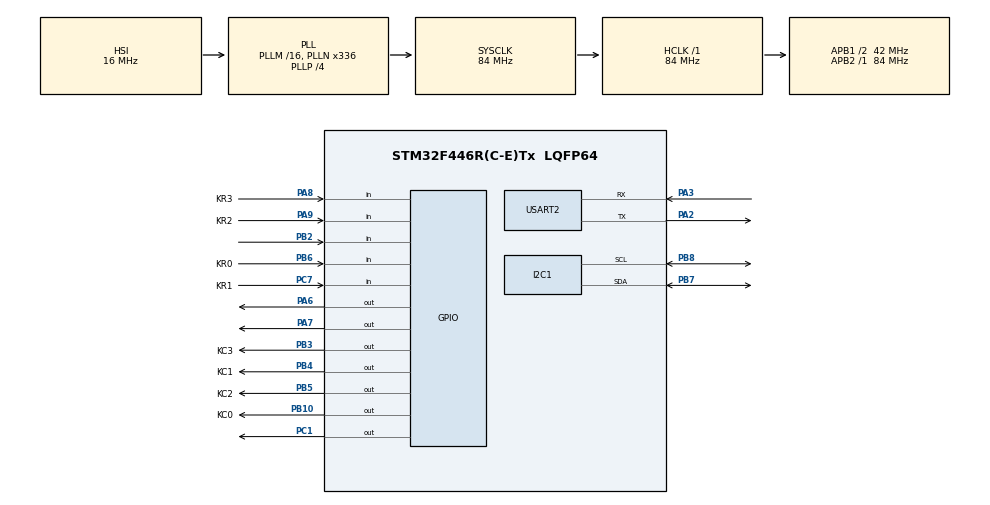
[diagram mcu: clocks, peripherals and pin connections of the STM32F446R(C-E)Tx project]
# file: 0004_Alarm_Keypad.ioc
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FREERTOS.Tasks01=ReadInputTask,24,128,StartDefaultTask,Default,NULL,Dynamic,NULL,NULL;WriteInputTask,24,128,StartTask02,Default,NULL,Dynamic,NULL,NULL;RedLight,24,128,StartRedTask,Default,NULL,Dynamic,NULL,NULL;GreenLight,24,128,StartGreenTask,Default,NULL,Dynamic,NULL,NULL;ReadSensorTask,24,128,readsensor,Default,NULL,Dynamic,NULL,NULL
FREERTOS.configUSE_NEWLIB_REENTRANT=1
I2C1.I2C_Mode=I2C_Fast
Mcu.Family=STM32F4
Mcu.Name=STM32F446R(C-E)Tx
Mcu.Package=LQFP64
NVIC.PriorityGroup=NVIC_PRIORITYGROUP_4
NVIC.TIM6_DAC_IRQn=true\:15\:0\:false\:false\:true\:false\:false\:true\:true
NVIC.TimeBase=TIM6_DAC_IRQn
NVIC.TimeBaseIP=TIM6
PA13.Mode=Serial_Wire
PA13.Signal=SYS_JTMS-SWDIO
PA14.Mode=Serial_Wire
PA14.Signal=SYS_JTCK-SWCLK
PA2.Mode=Asynchronous
PA2.Signal=USART2_TX
PA3.Mode=Asynchronous
PA3.Signal=USART2_RX
PA6.Signal=GPIO_Output
PA7.Signal=GPIO_Output
PA8.GPIO_Label=KR3
PA8.GPIO_PuPd=GPIO_PULLDOWN
PA8.Signal=GPIO_Input
PA9.GPIO_Label=KR2
PA9.GPIO_PuPd=GPIO_PULLDOWN
PA9.Signal=GPIO_Input
PB10.GPIO_Label=KC0
PB10.Signal=GPIO_Output
PB2.Signal=GPIO_Input
PB3.GPIO_Label=KC3
PB3.Signal=GPIO_Output
PB4.GPIO_Label=KC1
PB4.Signal=GPIO_Output
PB5.GPIO_Label=KC2
PB5.Signal=GPIO_Output
PB6.GPIO_Label=KR0
PB6.GPIO_PuPd=GPIO_PULLDOWN
PB6.Signal=GPIO_Input
PB7.Mode=I2C
PB7.Signal=I2C1_SDA
PB8.Mode=I2C
PB8.Signal=I2C1_SCL
PC1.Signal=GPIO_Output
PC14-OSC32_IN.Mode=LSE-External-Oscillator
PC14-OSC32_IN.Signal=RCC_OSC32_IN
PC15-OSC32_OUT.Mode=LSE-External-Oscillator
PC15-OSC32_OUT.Signal=RCC_OSC32_OUT
PC7.GPIO_Label=KR1
PC7.GPIO_PuPd=GPIO_PULLDOWN
PC7.Signal=GPIO_Input
PH0-OSC_IN.Mode=HSE-External-Oscillator
PH0-OSC_IN.Signal=RCC_OSC_IN
PH1-OSC_OUT.Mode=HSE-External-Oscillator
PH1-OSC_OUT.Signal=RCC_OSC_OUT
ProjectManager.HeapSize=0x200
ProjectManager.StackSize=0x400
ProjectManager.TargetToolchain=STM32CubeIDE
RCC.48MHZClocksFreq_Value=84000000
RCC.AHBFreq_Value=84000000
RCC.APB1CLKDivider=RCC_HCLK_DIV2
RCC.APB1Freq_Value=42000000
RCC.APB1TimFreq_Value=84000000
RCC.APB2Freq_Value=84000000
RCC.APB2TimFreq_Value=84000000
RCC.CortexFreq_Value=84000000
RCC.FLatency-AdvancedSettings=FLASH_LATENCY_2
RCC.HCLKFreq_Value=84000000
RCC.HSE_VALUE=8000000
RCC.HSI_VALUE=16000000
RCC.PLLN=336
RCC.PLLP=RCC_PLLP_DIV4
RCC.SYSCLKFreq_VALUE=84000000
RCC.SYSCLKSource=RCC_SYSCLKSOURCE_PLLCLK
RCC.USBFreq_Value=168000000
RCC.VCOOutputFreq_Value=336000000
USART2.VirtualMode=VM_ASYNC
VP_FREERTOS_VS_CMSIS_V2.Mode=CMSIS_V2
VP_SYS_VS_tim6.Mode=TIM6
board=NUCLEO-F446RE

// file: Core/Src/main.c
/* USER CODE BEGIN Header */
/**
  ******************************************************************************
  * @file           : main.c
  * @brief          : Main program body
  ******************************************************************************
  * @attention
  *
  * Copyright (c) 2024 STMicroelectronics.
  * All rights reserved.
  *
  * This software is licensed under terms that can be found in the LICENSE file
  * in the root directory of this software component.
  * If no LICENSE file comes with this software, it is provided AS-IS.
  *
  ******************************************************************************
  */
/* USER CODE END Header */
#include "main.h"
#include "cmsis_os.h"

/* USER CODE BEGIN Includes */
#include "Keypad4X4.h"
#include <stdio.h>
#include <string.h>
#include <stdlib.h>
#include "fonts.h"
#include "ssd1306.h"

/* USER CODE END Includes */

I2C_HandleTypeDef hi2c1;

UART_HandleTypeDef huart2;

/* Definitions for ReadInputTask */
osThreadId_t ReadInputTaskHandle;
const osThreadAttr_t ReadInputTask_attributes = {
  .name = "ReadInputTask",
  .stack_size = 128 * 4,
  .priority = (osPriority_t) osPriorityNormal,
};
/* Definitions for WriteInputTask */
osThreadId_t WriteInputTaskHandle;
const osThreadAttr_t WriteInputTask_attributes = {
  .name = "WriteInputTask",
  .stack_size = 128 * 4,
  .priority = (osPriority_t) osPriorityNormal,
};
/* Definitions for RedLight */
osThreadId_t RedLightHandle;
const osThreadAttr_t RedLight_attributes = {
  .name = "RedLight",
  .stack_size = 128 * 4,
  .priority = (osPriority_t) osPriorityNormal,
};
/* Definitions for GreenLight */
osThreadId_t GreenLightHandle;
const osThreadAttr_t GreenLight_attributes = {
  .name = "GreenLight",
  .stack_size = 128 * 4,
  .priority = (osPriority_t) osPriorityNormal,
};
/* Definitions for ReadSensorTask */
osThreadId_t ReadSensorTaskHandle;
const osThreadAttr_t ReadSensorTask_attributes = {
  .name = "ReadSensorTask",
  .stack_size = 128 * 4,
  .priority = (osPriority_t) osPriorityNormal,
};
/* USER CODE BEGIN PV */
extern char key;
char hold[5];
char ast[5];
size_t currentIndex = 0;
int flag = 0;
extern GPIO_PinState motionStatus;
/* USER CODE END PV */

void SystemClock_Config(void);
static void MX_GPIO_Init(void);
static void MX_I2C1_Init(void);
static void MX_USART2_UART_Init(void);
void StartDefaultTask(void *argument);
void StartTask02(void *argument);
void StartRedTask(void *argument);
void StartGreenTask(void *argument);
void readsensor(void *argument);

int main(void)
{

  /* MCU Configuration--------------------------------------------------------*/

  /* Reset of all peripherals, Initializes the Flash interface and the Systick. */
  HAL_Init();

  /* Configure the system clock */
  SystemClock_Config();

  /* Initialize all configured peripherals */
  MX_GPIO_Init();
  MX_I2C1_Init();
  MX_USART2_UART_Init();
  /* USER CODE BEGIN 2 */
  /* USER CODE BEGIN 2 */
    SSD1306_Init();
    SSD1306_GotoXY (0,0);
    //SSD1306_Puts ("Voltage:", &Font_11x18, 1);
    SSD1306_Puts ("Enter Code:", &Font_11x18, 1);
    SSD1306_GotoXY (0, 30);
    SSD1306_UpdateScreen();
    SSD1306_UpdateScreen();
    HAL_Delay (500);

  /* USER CODE END 2 */

  /* Init scheduler */
  osKernelInitialize();

  /* Create the thread(s) */
  /* creation of ReadInputTask */
  ReadInputTaskHandle = osThreadNew(StartDefaultTask, NULL, &ReadInputTask_attributes);

  /* creation of WriteInputTask */
  WriteInputTaskHandle = osThreadNew(StartTask02, NULL, &WriteInputTask_attributes);

  /* creation of RedLight */
  RedLightHandle = osThreadNew(StartRedTask, NULL, &RedLight_attributes);

  /* creation of GreenLight */
  GreenLightHandle = osThreadNew(StartGreenTask, NULL, &GreenLight_attributes);

  /* creation of ReadSensorTask */
  ReadSensorTaskHandle = osThreadNew(readsensor, NULL, &ReadSensorTask_attributes);

  /* Start scheduler */
  osKernelStart();

  /* We should never get here as control is now taken by the scheduler */

  /* Infinite loop */
  /* USER CODE BEGIN WHILE */
//  while (1)
//  {
    /* USER CODE END WHILE */

    /* USER CODE BEGIN 3 */
//	/* D10 to D7 as input pins for row 0 to row 3. D6 to D3 as output for column pins C1 to C3*/
//	  sprintf(hold, "%c", key);
//	  HAL_UART_Transmit(&huart2, (uint8_t *)hold, strlen(hold), 100);
//	  SSD1306_GotoXY (0, 30);
//	  SSD1306_UpdateScreen();
//	  SSD1306_Puts (hold, &Font_11x18, 1);
//	  SSD1306_UpdateScreen();
//	  HAL_Delay (500);
//  }
  /* USER CODE END 3 */
}

void SystemClock_Config(void)
{
  RCC_OscInitTypeDef RCC_OscInitStruct = {0};
  RCC_ClkInitTypeDef RCC_ClkInitStruct = {0};

  /** Configure the main internal regulator output voltage
  */
  __HAL_RCC_PWR_CLK_ENABLE();
  __HAL_PWR_VOLTAGESCALING_CONFIG(PWR_REGULATOR_VOLTAGE_SCALE3);

  /** Initializes the RCC Oscillators according to the specified parameters
  * in the RCC_OscInitTypeDef structure.
  */
  RCC_OscInitStruct.OscillatorType = RCC_OSCILLATORTYPE_HSI;
  RCC_OscInitStruct.HSIState = RCC_HSI_ON;
  RCC_OscInitStruct.HSICalibrationValue = RCC_HSICALIBRATION_DEFAULT;
  RCC_OscInitStruct.PLL.PLLState = RCC_PLL_ON;
  RCC_OscInitStruct.PLL.PLLSource = RCC_PLLSOURCE_HSI;
  RCC_OscInitStruct.PLL.PLLM = 16;
  RCC_OscInitStruct.PLL.PLLN = 336;
  RCC_OscInitStruct.PLL.PLLP = RCC_PLLP_DIV4;
  RCC_OscInitStruct.PLL.PLLQ = 2;
  RCC_OscInitStruct.PLL.PLLR = 2;
  if (HAL_RCC_OscConfig(&RCC_OscInitStruct) != HAL_OK)
  {
    Error_Handler();
  }

  /** Initializes the CPU, AHB and APB buses clocks
  */
  RCC_ClkInitStruct.ClockType = RCC_CLOCKTYPE_HCLK|RCC_CLOCKTYPE_SYSCLK
                              |RCC_CLOCKTYPE_PCLK1|RCC_CLOCKTYPE_PCLK2;
  RCC_ClkInitStruct.SYSCLKSource = RCC_SYSCLKSOURCE_PLLCLK;
  RCC_ClkInitStruct.AHBCLKDivider = RCC_SYSCLK_DIV1;
  RCC_ClkInitStruct.APB1CLKDivider = RCC_HCLK_DIV2;
  RCC_ClkInitStruct.APB2CLKDivider = RCC_HCLK_DIV1;

  if (HAL_RCC_ClockConfig(&RCC_ClkInitStruct, FLASH_LATENCY_2) != HAL_OK)
  {
    Error_Handler();
  }
}

static void MX_I2C1_Init(void)
{

  hi2c1.Instance = I2C1;
  hi2c1.Init.ClockSpeed = 400000;
  hi2c1.Init.DutyCycle = I2C_DUTYCYCLE_2;
  hi2c1.Init.OwnAddress1 = 0;
  hi2c1.Init.AddressingMode = I2C_ADDRESSINGMODE_7BIT;
  hi2c1.Init.DualAddressMode = I2C_DUALADDRESS_DISABLE;
  hi2c1.Init.OwnAddress2 = 0;
  hi2c1.Init.GeneralCallMode = I2C_GENERALCALL_DISABLE;
  hi2c1.Init.NoStretchMode = I2C_NOSTRETCH_DISABLE;
  if (HAL_I2C_Init(&hi2c1) != HAL_OK)
  {
    Error_Handler();
  }

}

static void MX_USART2_UART_Init(void)
{

  huart2.Instance = USART2;
  huart2.Init.BaudRate = 115200;
  huart2.Init.WordLength = UART_WORDLENGTH_8B;
  huart2.Init.StopBits = UART_STOPBITS_1;
  huart2.Init.Parity = UART_PARITY_NONE;
  huart2.Init.Mode = UART_MODE_TX_RX;
  huart2.Init.HwFlowCtl = UART_HWCONTROL_NONE;
  huart2.Init.OverSampling = UART_OVERSAMPLING_16;
  if (HAL_UART_Init(&huart2) != HAL_OK)
  {
    Error_Handler();
  }

}

static void MX_GPIO_Init(void)
{
  GPIO_InitTypeDef GPIO_InitStruct = {0};

  /* GPIO Ports Clock Enable */
  __HAL_RCC_GPIOC_CLK_ENABLE();
  __HAL_RCC_GPIOH_CLK_ENABLE();
  __HAL_RCC_GPIOA_CLK_ENABLE();
  __HAL_RCC_GPIOB_CLK_ENABLE();

  /*Configure GPIO pin Output Level */
  HAL_GPIO_WritePin(GPIOC, GPIO_PIN_1, GPIO_PIN_RESET);

  /*Configure GPIO pin Output Level */
  HAL_GPIO_WritePin(GPIOA, GPIO_PIN_6|GPIO_PIN_7, GPIO_PIN_RESET);

  /*Configure GPIO pin Output Level */
  HAL_GPIO_WritePin(GPIOB, KC0_Pin|KC3_Pin|KC1_Pin|KC2_Pin, GPIO_PIN_RESET);

  /*Configure GPIO pin : PC1 */
  GPIO_InitStruct.Pin = GPIO_PIN_1;
  GPIO_InitStruct.Mode = GPIO_MODE_OUTPUT_PP;
  GPIO_InitStruct.Pull = GPIO_NOPULL;
  GPIO_InitStruct.Speed = GPIO_SPEED_FREQ_LOW;
  HAL_GPIO_Init(GPIOC, &GPIO_InitStruct);

  /*Configure GPIO pins : PA6 PA7 */
  GPIO_InitStruct.Pin = GPIO_PIN_6|GPIO_PIN_7;
  GPIO_InitStruct.Mode = GPIO_MODE_OUTPUT_PP;
  GPIO_InitStruct.Pull = GPIO_NOPULL;
  GPIO_InitStruct.Speed = GPIO_SPEED_FREQ_LOW;
  HAL_GPIO_Init(GPIOA, &GPIO_InitStruct);

  /*Configure GPIO pin : PB2 */
  GPIO_InitStruct.Pin = GPIO_PIN_2;
  GPIO_InitStruct.Mode = GPIO_MODE_INPUT;
  GPIO_InitStruct.Pull = GPIO_NOPULL;
  HAL_GPIO_Init(GPIOB, &GPIO_InitStruct);

  /*Configure GPIO pins : KC0_Pin KC3_Pin KC1_Pin KC2_Pin */
  GPIO_InitStruct.Pin = KC0_Pin|KC3_Pin|KC1_Pin|KC2_Pin;
  GPIO_InitStruct.Mode = GPIO_MODE_OUTPUT_PP;
  GPIO_InitStruct.Pull = GPIO_NOPULL;
  GPIO_InitStruct.Speed = GPIO_SPEED_FREQ_LOW;
  HAL_GPIO_Init(GPIOB, &GPIO_InitStruct);

  /*Configure GPIO pin : KR1_Pin */
  GPIO_InitStruct.Pin = KR1_Pin;
  GPIO_InitStruct.Mode = GPIO_MODE_INPUT;
  GPIO_InitStruct.Pull = GPIO_PULLDOWN;
  HAL_GPIO_Init(KR1_GPIO_Port, &GPIO_InitStruct);

  /*Configure GPIO pins : KR3_Pin KR2_Pin */
  GPIO_InitStruct.Pin = KR3_Pin|KR2_Pin;
  GPIO_InitStruct.Mode = GPIO_MODE_INPUT;
  GPIO_InitStruct.Pull = GPIO_PULLDOWN;
  HAL_GPIO_Init(GPIOA, &GPIO_InitStruct);

  /*Configure GPIO pin : KR0_Pin */
  GPIO_InitStruct.Pin = KR0_Pin;
  GPIO_InitStruct.Mode = GPIO_MODE_INPUT;
  GPIO_InitStruct.Pull = GPIO_PULLDOWN;
  HAL_GPIO_Init(KR0_GPIO_Port, &GPIO_InitStruct);

}

void StartDefaultTask(void *argument)
{
  /* USER CODE BEGIN 5 */
  /* Infinite loop */
  for(;;)
  {
	key = Get_Key();
	if(currentIndex == 4) {
		currentIndex = 0;
		memset(hold, 0, sizeof hold);
		memset(ast, 0, sizeof ast);
		ast[currentIndex] = '*';
		hold[currentIndex++] = key;
	}
	else {
		ast[currentIndex] = '*';
		hold[currentIndex++] = key;
	}

	if (hold[0] == '1' && hold[1] == '2' && hold[2] == '3' && hold[3] == '4') {
		flag = !flag;
		HAL_GPIO_WritePin(GPIOC, GPIO_PIN_1, 0);
//		osDelay(3000);
	}

//	HAL_GPIO_WritePin(GPIOC, GPIO_PIN_1, 0);
   	// HAL_UART_Transmit(&huart2, (uint8_t *)hold, strlen(hold), 100);
    osDelay(50);
  }
  /* USER CODE END 5 */
}

void StartTask02(void *argument)
{
  /* USER CODE BEGIN StartTask02 */
  /* Infinite loop */
  for(;;)
  {
	  if(currentIndex == 4) {
		  SSD1306_GotoXY (0, 0);
		  SSD1306_Puts ("Enter Code:", &Font_11x18, 1);
		  SSD1306_GotoXY (0, 30);
		  SSD1306_Puts ("             ", &Font_11x18, 1);
		  SSD1306_UpdateScreen();
	  } else {
		  SSD1306_GotoXY (currentIndex + 6, 30);
		  SSD1306_UpdateScreen();
		  SSD1306_Puts (ast, &Font_11x18, 1);
		  SSD1306_UpdateScreen();
	  }

	  osDelay(1);
//	  SSD1306_GotoXY (currentIndex + 4, 30);
//	  SSD1306_UpdateScreen();
//	  SSD1306_Puts (hold, &Font_11x18, 1);
//	  SSD1306_UpdateScreen();
//	  osDelay(1);
  }
  /* USER CODE END StartTask02 */
}

void StartRedTask(void *argument)
{
  /* USER CODE BEGIN StartRedTask */
  /* Infinite loop */
  for(;;)
  {
	if(!flag) {
		HAL_GPIO_WritePin(GPIOA, GPIO_PIN_7, GPIO_PIN_SET);
    	osDelay(1);
	} else {
		HAL_GPIO_WritePin(GPIOA, GPIO_PIN_7, GPIO_PIN_RESET);
		osDelay(1);
	}
  }
  /* USER CODE END StartRedTask */
}

void StartGreenTask(void *argument)
{
  /* USER CODE BEGIN StartGreenTask */
  /* Infinite loop */
  for(;;)
  {
	  if(!flag) {
		  HAL_GPIO_WritePin(GPIOA, GPIO_PIN_6, GPIO_PIN_RESET);
		  osDelay(1);
	  } else {
		  HAL_GPIO_WritePin(GPIOA, GPIO_PIN_6, GPIO_PIN_SET);
		  osDelay(1);
	  }
  }
  /* USER CODE END StartGreenTask */
}

void readsensor(void *argument)
{
  /* USER CODE BEGIN readsensor */
	for(;;)
	  {
//		char statusStr[2];
//	    GPIO_PinState motionStatus = HAL_GPIO_ReadPin(GPIOB, GPIO_PIN_2);
//	    snprintf(statusStr, sizeof(statusStr), "%d", motionStatus == 1 ? 1 : 0);
//	    HAL_UART_Transmit(&huart2, (uint8_t *)statusStr, strlen(statusStr), 100);
//
//	    if(motionStatus == 1) {
//			// Motion detected, turn on the buzzer
//			HAL_GPIO_WritePin(GPIOC, GPIO_PIN_1, 1);
//	    } else {
//	    	HAL_GPIO_WritePin(GPIOC, GPIO_PIN_1, 0);
//	    }
//
//	    // Add a delay to prevent the loop from running too fast
//	    osDelay(100); // Adjust the delay as needed

		if(flag) {
			osDelay(3000);
			if(HAL_GPIO_ReadPin(GPIOB, GPIO_PIN_2))
				HAL_GPIO_WritePin(GPIOC, GPIO_PIN_1, 1);
			else
				HAL_GPIO_WritePin(GPIOC, GPIO_PIN_1, 0);
		} else {
			HAL_GPIO_WritePin(GPIOC, GPIO_PIN_1, 0);
		}

		osDelay(50);
	  }
  /* USER CODE END readsensor */
}

void HAL_TIM_PeriodElapsedCallback(TIM_HandleTypeDef *htim)
{
  if (htim->Instance == TIM6) {
    HAL_IncTick();
  }
}

void Error_Handler(void)
{
  __disable_irq();
  while (1)
  {
  }
}
